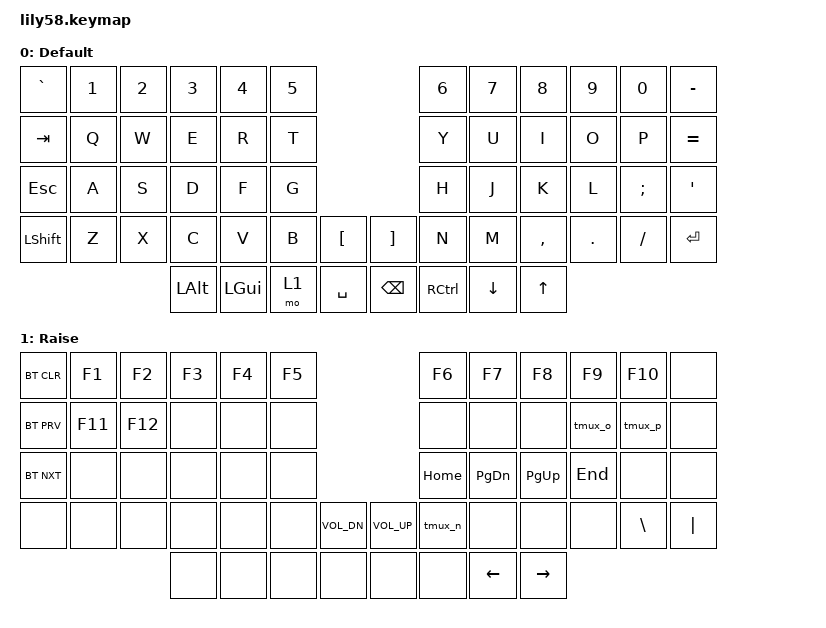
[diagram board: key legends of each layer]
#include <behaviors.dtsi>
#include <dt-bindings/zmk/keys.h>
#include <dt-bindings/zmk/bt.h>

/ {
    macros {
        ZMK_MACRO(tmux_n,
            bindings
                = <&macro_press   &kp RCTRL>
                , <&macro_tap     &kp B>
                , <&macro_release &kp RCTRL>
                , <&macro_tap     &kp N>
                ;
        )
        ZMK_MACRO(tmux_p,
            bindings
                = <&macro_press   &kp RCTRL>
                , <&macro_tap     &kp B>
                , <&macro_release &kp RCTRL>
                , <&macro_tap     &kp P>
                ;
        )
        ZMK_MACRO(tmux_o,
            bindings
                = <&macro_press   &kp RCTRL>
                , <&macro_tap     &kp B>
                , <&macro_release &kp RCTRL>
                , <&macro_tap     &kp O>
                ;
        )
    };

    keymap {
        compatible = "zmk,keymap";

        default_layer {
            label = "Default";

            // ---------------------------------------------------------------------------------------------------------------------
            // | GRAVE |   1   |   2   |   3   |   4   |   5   |                   |   6   |   7   |   8   |   9   |   0   |   -   |
            // |  TAB  |   Q   |   W   |   E   |   R   |   T   |                   |   Y   |   U   |   I   |   O   |   P   |   +   |
            // |  ESC  |   A   |   S   |   D   |   F   |   G   |                   |   H   |   J   |   K   |   L   |   ;   |   '   |
            // | SHIFT |   Z   |   X   |   C   |   V   |   B   |   [   |   |   ]   |   N   |   M   |   ,   |   .   |   /   | ENTER |
            //                         |  ALT  |  GUI  | RAISE | SPACE |   |  BSPC |  CTRL |  DOWN |   UP  |
            // ---------------------------------------------------------------------------------------------------------------------

            bindings = <
                &kp GRAVE &kp N1 &kp N2 &kp N3   &kp N4   &kp N5                   &kp N6    &kp N7   &kp N8    &kp N9  &kp N0   &kp MINUS
                &kp TAB   &kp Q  &kp W  &kp E    &kp R    &kp T                    &kp Y     &kp U    &kp I     &kp O   &kp P    &kp EQUAL
                &kp ESC   &kp A  &kp S  &kp D    &kp F    &kp G                    &kp H     &kp J    &kp K     &kp L   &kp SEMI &kp SQT
                &kp LSHFT &kp Z  &kp X  &kp C    &kp V    &kp B &kp LBKT  &kp RBKT &kp N     &kp M    &kp COMMA &kp DOT &kp FSLH &kp RET
                                        &kp LALT &kp LGUI &mo 1 &kp SPACE &kp BSPC &kp RCTRL &kp DOWN &kp UP
            >;
        };

        raise_layer {
            label = "Raise";

            // ---------------------------------------------------------------------------------------------------------------------
            // | BTCLR |   F1  |   F2  |   F3  |   F4  |   F5  |                   |   F6  |   F7  |   F8  |   F9  |  F10  |       |
            // | BTPRV |  F11  |  F12  |       |       |       |                   |       |       |       | TMUXO | TMUXP |       |
            // | BTNXT |       |       |       |       |       |                   |  HOME | PG_DN | PG_UP |  END  |       |       |
            // |       |       |       |       |       |       | VOLDN |   | VOLUP | TMUXN |       |       |       |   \   |   |   |
            //                         |       |       |       |       |   |       |       |  LEFT | RIGHT |
            // ---------------------------------------------------------------------------------------------------------------------

            bindings = <
                &bt BT_CLR &kp F1  &kp F2  &kp F3 &kp F4 &kp F5                           &kp F6   &kp F7    &kp F8    &kp F9  &kp F10  &none
                &bt BT_PRV &kp F11 &kp F12 &none  &none  &none                            &none    &none     &none     &tmux_o &tmux_p  &none
                &bt BT_NXT &none   &none   &none  &none  &none                            &kp HOME &kp PG_DN &kp PG_UP &kp END &none    &none
                &none      &none   &none   &none  &none  &none  &kp C_VOL_DN &kp C_VOL_UP &tmux_n  &none     &none     &none   &kp BSLH &kp PIPE
                                           &none  &none  &none  &none        &none        &none    &kp LEFT  &kp RIGHT
            >;
        };
    };
};
